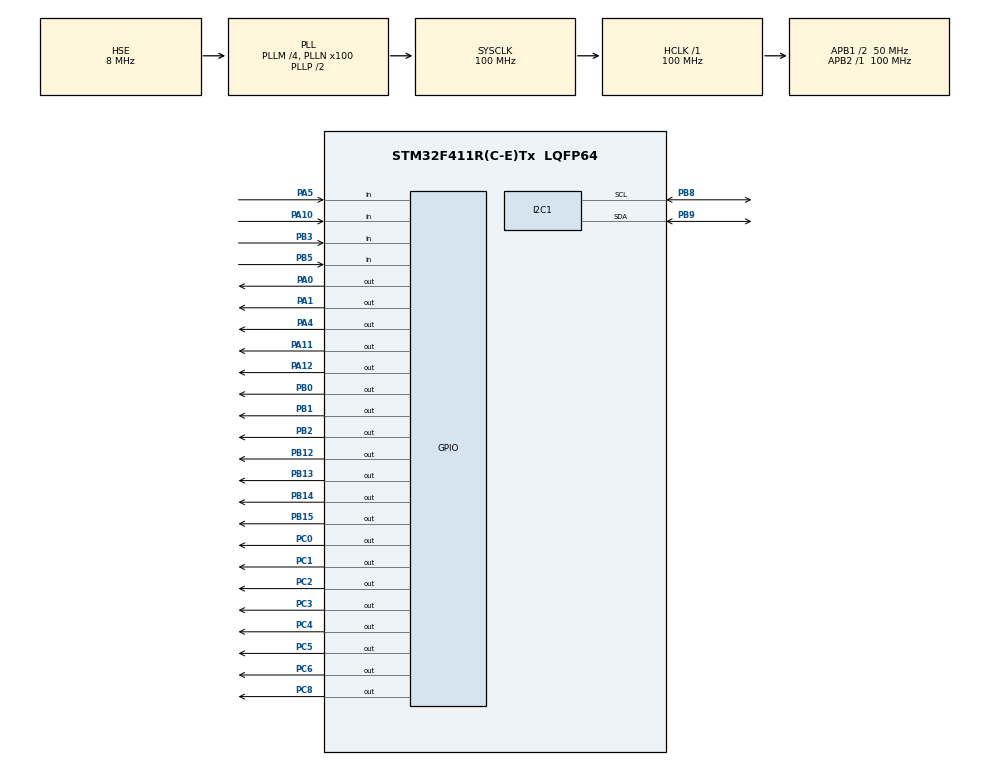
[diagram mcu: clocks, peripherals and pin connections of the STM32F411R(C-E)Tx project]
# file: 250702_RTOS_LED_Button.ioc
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FREERTOS.Mutexes01=LcdMutex,Dynamic,NULL,Available
FREERTOS.Queues01=btnLedQueue,16,uint16_t,0,Dynamic,NULL,NULL
FREERTOS.Tasks01=defaultTask,0,128,StartDefaultTask,Default,NULL,Dynamic,NULL,NULL;myButtonTask,0,128,StartButtonTask,Default,NULL,Dynamic,NULL,NULL;myLedTask,0,128,StartLedTask,Default,NULL,Dynamic,NULL,NULL;myFNDTask,0,128,StartFNDTask,Default,NULL,Dynamic,NULL,NULL
FREERTOS.configUSE_NEWLIB_REENTRANT=1
Mcu.Family=STM32F4
Mcu.Name=STM32F411R(C-E)Tx
Mcu.Package=LQFP64
NVIC.PriorityGroup=NVIC_PRIORITYGROUP_4
NVIC.TIM1_TRG_COM_TIM11_IRQn=true\:15\:0\:false\:false\:true\:false\:false\:true\:true
NVIC.TIM2_IRQn=true\:5\:0\:false\:false\:true\:true\:true\:true\:true
NVIC.TimeBase=TIM1_TRG_COM_TIM11_IRQn
NVIC.TimeBaseIP=TIM11
PA0-WKUP.Signal=GPIO_Output
PA1.Signal=GPIO_Output
PA10.Signal=GPIO_Input
PA11.Signal=GPIO_Output
PA12.Signal=GPIO_Output
PA13.Mode=Serial_Wire
PA13.Signal=SYS_JTMS-SWDIO
PA14.Mode=Serial_Wire
PA14.Signal=SYS_JTCK-SWCLK
PA4.Signal=GPIO_Output
PA5.Signal=GPIO_Input
PB0.Signal=GPIO_Output
PB1.Signal=GPIO_Output
PB12.Signal=GPIO_Output
PB13.Signal=GPIO_Output
PB14.Signal=GPIO_Output
PB15.Signal=GPIO_Output
PB2.Signal=GPIO_Output
PB3.Signal=GPIO_Input
PB5.Signal=GPIO_Input
PB8.Mode=I2C
PB8.Signal=I2C1_SCL
PB9.Mode=I2C
PB9.Signal=I2C1_SDA
PC0.Signal=GPIO_Output
PC1.Signal=GPIO_Output
PC2.Signal=GPIO_Output
PC3.Signal=GPIO_Output
PC4.Signal=GPIO_Output
PC5.Signal=GPIO_Output
PC6.Signal=GPIO_Output
PC8.Signal=GPIO_Output
PH0\ -\ OSC_IN.Mode=HSE-External-Oscillator
PH0\ -\ OSC_IN.Signal=RCC_OSC_IN
PH1\ -\ OSC_OUT.Mode=HSE-External-Oscillator
PH1\ -\ OSC_OUT.Signal=RCC_OSC_OUT
ProjectManager.HeapSize=0x200
ProjectManager.StackSize=0x400
ProjectManager.TargetToolchain=STM32CubeIDE
RCC.48MHZClocksFreq_Value=50000000
RCC.AHBFreq_Value=100000000
RCC.APB1CLKDivider=RCC_HCLK_DIV2
RCC.APB1Freq_Value=50000000
RCC.APB1TimFreq_Value=100000000
RCC.APB2Freq_Value=100000000
RCC.APB2TimFreq_Value=100000000
RCC.CortexFreq_Value=100000000
RCC.HCLKFreq_Value=100000000
RCC.HSE_VALUE=8000000
RCC.HSI_VALUE=16000000
RCC.LSE_VALUE=32768
RCC.PLLM=4
RCC.PLLN=100
RCC.PLLSourceVirtual=RCC_PLLSOURCE_HSE
RCC.SYSCLKFreq_VALUE=100000000
RCC.SYSCLKSource=RCC_SYSCLKSOURCE_PLLCLK
RCC.VCOOutputFreq_Value=200000000
TIM2.AutoReloadPreload=TIM_AUTORELOAD_PRELOAD_ENABLE
TIM2.Period=1000-1
TIM2.Prescaler=100-1
VP_FREERTOS_VS_CMSIS_V1.Mode=CMSIS_V1
VP_SYS_VS_tim11.Mode=TIM11
VP_TIM2_VS_ClockSourceINT.Mode=Internal
board=custom

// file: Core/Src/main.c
/* USER CODE BEGIN Header */
/**
 ******************************************************************************
 * @file           : main.c
 * @brief          : Main program body
 ******************************************************************************
 * @attention
 *
 * Copyright (c) 2025 STMicroelectronics.
 * All rights reserved.
 *
 * This software is licensed under terms that can be found in the LICENSE file
 * in the root directory of this software component.
 * If no LICENSE file comes with this software, it is provided AS-IS.
 *
 ******************************************************************************
 */
/* USER CODE END Header */
#include "main.h"
#include "cmsis_os.h"
#include "i2c.h"
#include "tim.h"
#include "gpio.h"
#include "FND.h"

void SystemClock_Config(void);
void MX_FREERTOS_Init(void);

int main(void) {

	/* MCU Configuration--------------------------------------------------------*/

	/* Reset of all peripherals, Initializes the Flash interface and the Systick. */
	HAL_Init();

	/* Configure the system clock */
	SystemClock_Config();

	/* Initialize all configured peripherals */
	MX_GPIO_Init();
	MX_I2C1_Init();
	MX_TIM2_Init();

	/* Call init function for freertos objects (in cmsis_os2.c) */
	MX_FREERTOS_Init();

	/* Start scheduler */
	osKernelStart();

	/* We should never get here as control is now taken by the scheduler */

	/* Infinite loop */
	while (1) {

	}
}

void SystemClock_Config(void) {
	RCC_OscInitTypeDef RCC_OscInitStruct = { 0 };
	RCC_ClkInitTypeDef RCC_ClkInitStruct = { 0 };

	/** Configure the main internal regulator output voltage
	 */
	__HAL_RCC_PWR_CLK_ENABLE();
	__HAL_PWR_VOLTAGESCALING_CONFIG(PWR_REGULATOR_VOLTAGE_SCALE1);

	/** Initializes the RCC Oscillators according to the specified parameters
	 * in the RCC_OscInitTypeDef structure.
	 */
	RCC_OscInitStruct.OscillatorType = RCC_OSCILLATORTYPE_HSE;
	RCC_OscInitStruct.HSEState = RCC_HSE_ON;
	RCC_OscInitStruct.PLL.PLLState = RCC_PLL_ON;
	RCC_OscInitStruct.PLL.PLLSource = RCC_PLLSOURCE_HSE;
	RCC_OscInitStruct.PLL.PLLM = 4;
	RCC_OscInitStruct.PLL.PLLN = 100;
	RCC_OscInitStruct.PLL.PLLP = RCC_PLLP_DIV2;
	RCC_OscInitStruct.PLL.PLLQ = 4;
	if (HAL_RCC_OscConfig(&RCC_OscInitStruct) != HAL_OK) {
		Error_Handler();
	}

	/** Initializes the CPU, AHB and APB buses clocks
	 */
	RCC_ClkInitStruct.ClockType = RCC_CLOCKTYPE_HCLK | RCC_CLOCKTYPE_SYSCLK
			| RCC_CLOCKTYPE_PCLK1 | RCC_CLOCKTYPE_PCLK2;
	RCC_ClkInitStruct.SYSCLKSource = RCC_SYSCLKSOURCE_PLLCLK;
	RCC_ClkInitStruct.AHBCLKDivider = RCC_SYSCLK_DIV1;
	RCC_ClkInitStruct.APB1CLKDivider = RCC_HCLK_DIV2;
	RCC_ClkInitStruct.APB2CLKDivider = RCC_HCLK_DIV1;

	if (HAL_RCC_ClockConfig(&RCC_ClkInitStruct, FLASH_LATENCY_3) != HAL_OK) {
		Error_Handler();
	}
}

void HAL_TIM_PeriodElapsedCallback(TIM_HandleTypeDef *htim) {
	if (htim->Instance == TIM11) {
		HAL_IncTick();
	}
	if (htim->Instance == TIM2) {
		FND_DispDataCallBack();
	}
}

void Error_Handler(void) {
	__disable_irq();
	while (1) {
	}
}

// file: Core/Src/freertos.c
/* USER CODE BEGIN Header */
/**
 ******************************************************************************
 * File Name          : freertos.c
 * Description        : Code for freertos applications
 ******************************************************************************
 * @attention
 *
 * Copyright (c) 2025 STMicroelectronics.
 * All rights reserved.
 *
 * This software is licensed under terms that can be found in the LICENSE file
 * in the root directory of this software component.
 * If no LICENSE file comes with this software, it is provided AS-IS.
 *
 ******************************************************************************
 */
/* USER CODE END Header */

#include "FreeRTOS.h"
#include "task.h"
#include "main.h"
#include "cmsis_os.h"

/* USER CODE BEGIN Includes */
#include "Button.h"
#include "LedBar.h"
#include "my_queue.h"
#include "lcd.h"
#include "FND.h"
#include <stdio.h>
#include "tim.h"
/* USER CODE END Includes */

/* USER CODE BEGIN PTD */
enum {
	BTN_LED1, BTN_LED2, BTN_LED3
};
enum {
	RUN, STOP, CLEAR
};

typedef struct {
	int id;
} btn_led_t;
/* USER CODE END PTD */

osThreadId defaultTaskHandle;
osThreadId myButtonTaskHandle;
osThreadId myLedTaskHandle;
osThreadId myFNDTaskHandle;
osMutexId LcdMutexHandle;

/* USER CODE BEGIN FunctionPrototypes */
btn_led_t btnData;

osMailQDef(btnMail, 4, btn_led_t); // 이름, 큐 사이즈, 자료형
osMailQId btnMail;

osMailQDef(fndMail, 4, btn_led_t); // fnd의 동작에 해당하는
osMailQId fndMail;

/* USER CODE END FunctionPrototypes */

void StartDefaultTask(void const *argument);
void StartButtonTask(void const *argument);
void StartLedTask(void const *argument);
void StartFNDTask(void const *argument);

void MX_FREERTOS_Init(void); /* (MISRA C 2004 rule 8.1) */

/* GetIdleTaskMemory prototype (linked to static allocation support) */
void vApplicationGetIdleTaskMemory(StaticTask_t **ppxIdleTaskTCBBuffer,
		StackType_t **ppxIdleTaskStackBuffer, uint32_t *pulIdleTaskStackSize);

/* USER CODE BEGIN GET_IDLE_TASK_MEMORY */
static StaticTask_t xIdleTaskTCBBuffer;
static StackType_t xIdleStack[configMINIMAL_STACK_SIZE];

void vApplicationGetIdleTaskMemory(StaticTask_t **ppxIdleTaskTCBBuffer,
		StackType_t **ppxIdleTaskStackBuffer, uint32_t *pulIdleTaskStackSize) {
	*ppxIdleTaskTCBBuffer = &xIdleTaskTCBBuffer;
	*ppxIdleTaskStackBuffer = &xIdleStack[0];
	*pulIdleTaskStackSize = configMINIMAL_STACK_SIZE;
	/* place for user code */
}
/* USER CODE END GET_IDLE_TASK_MEMORY */

void MX_FREERTOS_Init(void) {
	/* Create the mutex(es) */
	/* definition and creation of LcdMutex */
	osMutexDef(LcdMutex);
	LcdMutexHandle = osMutexCreate(osMutex(LcdMutex));

	/* Create the thread(s) */
	/* definition and creation of defaultTask */
	osThreadDef(defaultTask, StartDefaultTask, osPriorityNormal, 0, 128);
	defaultTaskHandle = osThreadCreate(osThread(defaultTask), NULL);

	/* definition and creation of myButtonTask */
	osThreadDef(myButtonTask, StartButtonTask, osPriorityNormal, 0, 128);
	myButtonTaskHandle = osThreadCreate(osThread(myButtonTask), NULL);

	/* definition and creation of myLedTask */
	osThreadDef(myLedTask, StartLedTask, osPriorityNormal, 0, 128);
	myLedTaskHandle = osThreadCreate(osThread(myLedTask), NULL);

	/* definition and creation of myFNDTask */
	osThreadDef(myFNDTask, StartFNDTask, osPriorityNormal, 0, 128);
	myFNDTaskHandle = osThreadCreate(osThread(myFNDTask), NULL);

	/* USER CODE BEGIN RTOS_THREADS */
	btnMail = osMailCreate(osMailQ(btnMail), NULL);
	fndMail = osMailCreate(osMailQ(fndMail), NULL);
	/* add threads, ... */
	/* USER CODE END RTOS_THREADS */
	HAL_TIM_Base_Start_IT(&htim2);
}

void StartDefaultTask(void const *argument) {
	for (;;) {
		osDelay(1);
	}
}

void StartButtonTask(void const *argument) {
	/* USER CODE BEGIN StartButtonTask */
	Button_Init(&hBtnLed1, GPIOB, GPIO_PIN_5);
	Button_Init(&hBtnLed2, GPIOB, GPIO_PIN_3);
	Button_Init(&hBtnLed3, GPIOB, GPIO_PIN_10);

	LCD_Init(&hi2c1);
	//MyQue_Init(&qBtnLed, sizeof(btn_led_t));
	btn_led_t *btnData; // 이미 포인터로 선언을 해왔으니 상관 X
	btn_led_t *fndData;

	char str[30];
	uint32_t counter = 0;

	/* Infinite loop */

	for (;;) {
		if (Button_GetState(&hBtnLed1) == ACT_RELEASED) {
			btnData = osMailAlloc(btnMail, osWaitForever);
			fndData = osMailAlloc(fndMail, osWaitForever);
			btnData->id = BTN_LED1;
			fndData->id = RUN;
			osMailPut(btnMail, btnData);
			osMailPut(fndMail, fndData);
			//MyenQue(&qBtnLed, &btnData);

			osMutexWait(LcdMutexHandle, osWaitForever);
			LCD_writeStringXY(0, 0, "BTN1");
			osMutexRelease(LcdMutexHandle);

		} else if (Button_GetState(&hBtnLed2) == ACT_RELEASED) {
			btnData = osMailAlloc(btnMail, osWaitForever);
			fndData = osMailAlloc(fndMail, osWaitForever);
			btnData->id = BTN_LED2;
			fndData->id = STOP;
			osMailPut(btnMail, btnData);
			osMailPut(fndMail, fndData);
			//			MyenQue(&qBtnLed, &btnData);

			osMutexWait(LcdMutexHandle, osWaitForever);
			LCD_writeStringXY(0, 0, "BTN2");
			osMutexRelease(LcdMutexHandle);

		} else if (Button_GetState(&hBtnLed3) == ACT_RELEASED) {
			btnData = osMailAlloc(btnMail, osWaitForever);
			fndData = osMailAlloc(fndMail, osWaitForever);
			btnData->id = BTN_LED3;
			fndData->id = CLEAR;
			osMailPut(btnMail, btnData);
			osMailPut(fndMail, fndData);
			//			MyenQue(&qBtnLed, &btnData);

			osMutexWait(LcdMutexHandle, osWaitForever);
			LCD_writeStringXY(0, 0, "BTN3");
			osMutexRelease(LcdMutexHandle);
		}
		sprintf(str, ":cnt%u", (unsigned int) counter++);
		osMutexWait(LcdMutexHandle, osWaitForever);
		LCD_writeStringXY(0, 5, str);
		osMutexRelease(LcdMutexHandle);
		osDelay(100);
	}
	/* USER CODE END StartButtonTask */
}

void StartLedTask(void const *argument) {
	/* USER CODE BEGIN StartLedTask */
	/* Infinite loop */

	btn_led_t *btnData;
	osEvent evt;

	uint8_t ledData = 0;
	uint32_t prevTime = 0, curTime = 0;
	char str[30];
	uint32_t counter = 0;

	for (;;) {
		curTime = HAL_GetTick();
		if (curTime - prevTime >= 500) {
			prevTime = curTime;
			ledData ^= (1 << 0);
			LedBar_Write(ledData);
		}
		evt = osMailGet(btnMail, 0);
		if (evt.status == osEventMail) {
			btnData = evt.value.p;
			if (btnData->id == BTN_LED1) {
				ledData ^= (1 << 1);
				LedBar_Write(ledData);
				osMutexWait(LcdMutexHandle, osWaitForever);
				LCD_writeStringXY(1, 0, "LED1");
				osMutexRelease(LcdMutexHandle);
			} else if (btnData->id == BTN_LED2) {
				ledData ^= (1 << 2);
				LedBar_Write(ledData);
				osMutexWait(LcdMutexHandle, osWaitForever);
				LCD_writeStringXY(1, 0, "LED2");
				osMutexRelease(LcdMutexHandle);
			} else if (btnData->id == BTN_LED3) {
				ledData ^= (1 << 3);
				LedBar_Write(ledData);
				osMutexWait(LcdMutexHandle, osWaitForever);
				LCD_writeStringXY(1, 0, "LED3");
				osMutexRelease(LcdMutexHandle);
			}
			osMailFree(btnMail, btnData);
		}
		sprintf(str, ":cnt%u", (unsigned int) counter++);
		osMutexWait(LcdMutexHandle, osWaitForever);
		LCD_writeStringXY(1, 5, str);
		osMutexRelease(LcdMutexHandle);
		osDelay(100);
	}
	/* USER CODE END StartLedTask */
}

void StartFNDTask(void const *argument) {
	/* USER CODE BEGIN StartFNDTask */
	/* Infinite loop */

	btn_led_t *fndData;
	osEvent evt;
	int run = 0;

	int counter = 0;
	for (;;) {
		evt = osMailGet(fndMail, 0);
		if (evt.status == osEventMail) {
			fndData = evt.value.p;
			if (fndData->id == RUN) {
				run = 1;
			} else if (fndData->id == STOP) {
				run = 0;
			} else if (fndData->id == CLEAR) {
				if(!run) counter = 0;
			}
			osMailFree(fndMail, fndData);
		}
		if(run){
			counter++;
			counter%= 10000;
		}
		FND_WriteData(counter);
		osDelay(100);
		/* USER CODE END StartFNDTask */
	}
}
